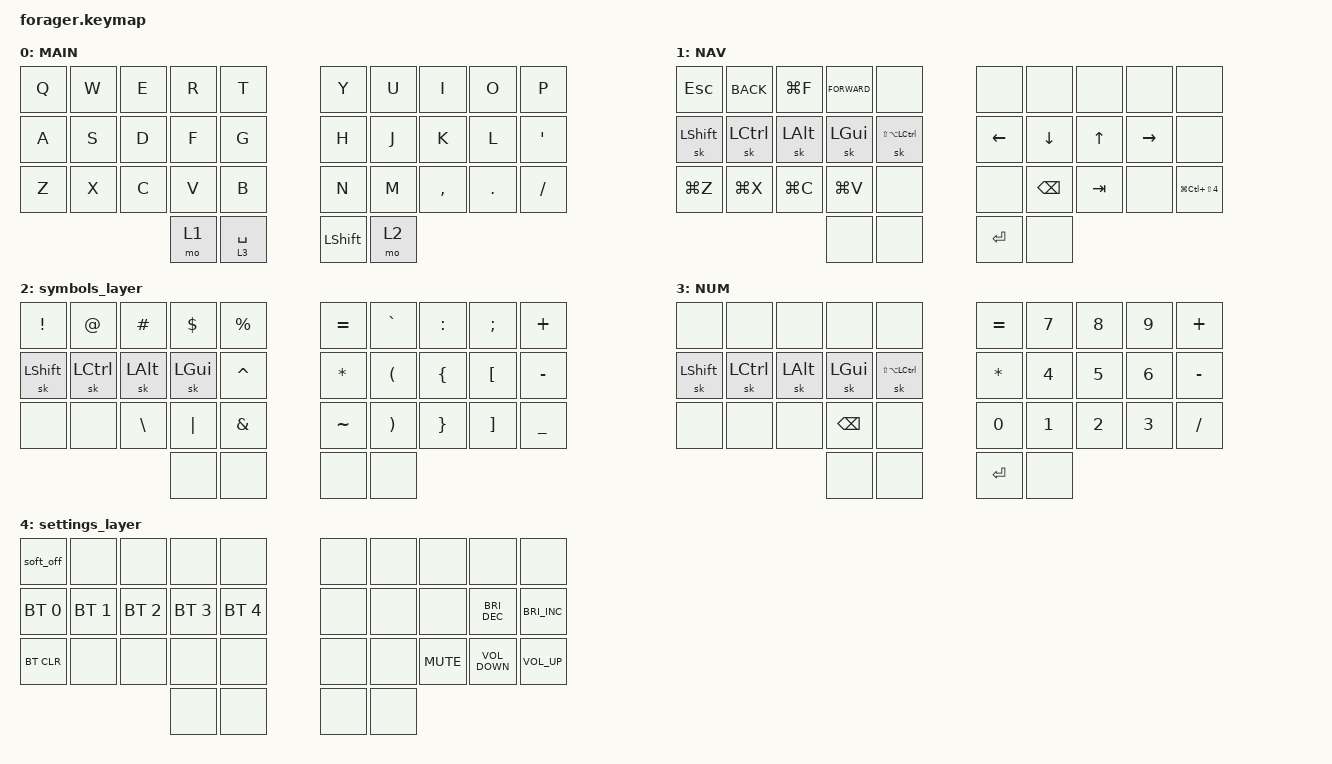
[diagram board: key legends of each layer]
#include <behaviors.dtsi>
#include <dt-bindings/zmk/bt.h>
#include <dt-bindings/zmk/keys.h>

#define BASE 0
#define EXT 1
#define SYM 2
#define NUM 3
#define SETTINGS 4

&lt { quick_tap_ms = <200>; };

&mt { quick_tap_ms = <200>; };

/ {
    combos {
        compatible = "zmk,combos";

        // both left thumb keys

        combo_settings {
            timeout-ms = <300>;
            key-positions = <31 32>;
            bindings = <&mo SETTINGS>;
        };
    };

    keymap {
        compatible = "zmk,keymap";

        default_layer {
            display-name = "MAIN";
            bindings = <
  &kp Q  &kp W  &kp E  &kp R  &kp T          &kp Y           &kp U  &kp I      &kp O    &kp P
  &kp A  &kp S  &kp D  &kp F  &kp G          &kp H           &kp J  &kp K      &kp L    &kp SINGLE_QUOTE
  &kp Z  &kp X  &kp C  &kp V  &kp B          &kp N           &kp M  &kp COMMA  &kp DOT  &kp FSLH
                       &mo 1  &lt 3 SPACE    &kp LEFT_SHIFT  &mo 2
            >;
        };

        extend_layer {
            display-name = "NAV";
            bindings = <
  &kp ESCAPE      &kp K_BACK        &kp LG(F)     &kp K_FORWARD  &none                       &none           &none           &none         &none            &none
  &sk LEFT_SHIFT  &sk LEFT_CONTROL  &sk LEFT_ALT  &sk LEFT_GUI   &sk LS(LA(LEFT_CONTROL))    &kp LEFT_ARROW  &kp DOWN_ARROW  &kp UP_ARROW  &kp RIGHT_ARROW  &none
  &kp LG(Z)       &kp LG(X)         &kp LG(C)     &kp LG(V)      &none                       &none           &kp BACKSPACE   &kp TAB       &none            &kp LG(LC(LS(NUMBER_4)))
                                                  &none          &none                       &kp ENTER       &none
            >;
        };

        symbols_layer {
            bindings = <
  &kp EXCLAMATION  &kp AT_SIGN       &kp HASH       &kp DOLLAR    &kp PERCENT      &kp EQUAL     &kp GRAVE              &kp COLON        &kp SEMICOLON      &kp PLUS
  &sk LEFT_SHIFT   &sk LEFT_CONTROL  &sk LEFT_ALT   &sk LEFT_GUI  &kp CARET        &kp ASTERISK  &kp LEFT_PARENTHESIS   &kp LEFT_BRACE   &kp LEFT_BRACKET   &kp MINUS
  &none            &none             &kp BACKSLASH  &kp PIPE      &kp AMPERSAND    &kp TILDE     &kp RIGHT_PARENTHESIS  &kp RIGHT_BRACE  &kp RIGHT_BRACKET  &kp UNDERSCORE
                                                    &none         &none            &none         &none
            >;
        };

        numbers_layer {
            display-name = "NUM";
            bindings = <
  &none           &none             &none         &none          &none                       &kp EQUAL     &kp NUMBER_7  &kp NUMBER_8  &kp NUMBER_9  &kp PLUS
  &sk LEFT_SHIFT  &sk LEFT_CONTROL  &sk LEFT_ALT  &sk LEFT_GUI   &sk LS(LA(LEFT_CONTROL))    &kp ASTERISK  &kp NUMBER_4  &kp NUMBER_5  &kp NUMBER_6  &kp MINUS
  &none           &none             &none         &kp BACKSPACE  &none                       &kp NUMBER_0  &kp NUMBER_1  &kp NUMBER_2  &kp NUMBER_3  &kp SLASH
                                                  &none          &none                       &kp ENTER     &none
            >;
        };

        settings_layer {
            bindings = <
  &soft_off     &none         &none         &none         &none           &none  &none  &none       &none                 &none
  &bt BT_SEL 0  &bt BT_SEL 1  &bt BT_SEL 2  &bt BT_SEL 3  &bt BT_SEL 4    &none  &none  &none       &kp C_BRIGHTNESS_DEC  &kp C_BRIGHTNESS_INC
  &bt BT_CLR    &none         &none         &none         &none           &none  &none  &kp K_MUTE  &kp C_VOLUME_DOWN     &kp C_VOLUME_UP
                                            &none         &none           &none  &none
            >;
        };
    };
};
